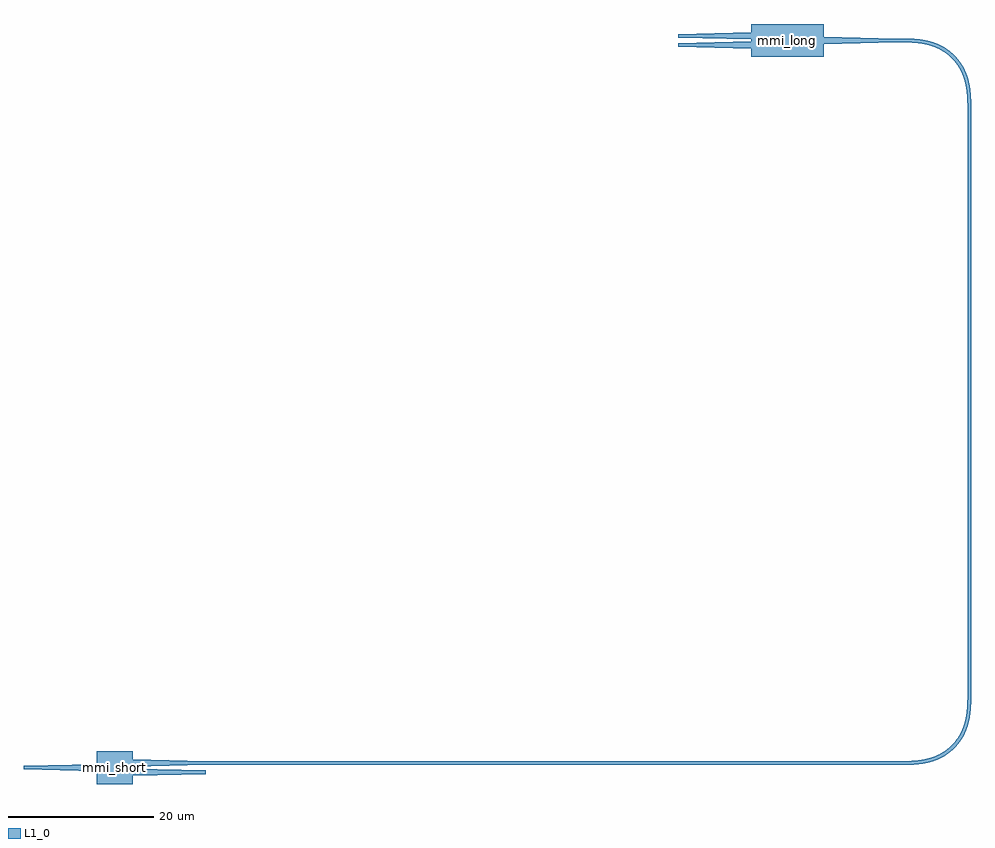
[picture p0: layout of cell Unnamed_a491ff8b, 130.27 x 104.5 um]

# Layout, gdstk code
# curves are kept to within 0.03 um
from math import pi, radians
import gdstk
lib = gdstk.Library(unit=1e-6, precision=1e-09)
def R(c, l, rs):  # rectangles x0, y0, x1, y1
    for r in rs: c.add(gdstk.rectangle(r[:2], r[2:], *l))
def P(c, l, *ps):  # polygons
    for p in ps: c.add(gdstk.Polygon(p, *l))
L1_0 = (1, 0)

mmi1x2_25023716 = lib.new_cell('mmi1x2_25023716')
R(mmi1x2_25023716, L1_0, [(0,-2.25,10,2.25)])
P(mmi1x2_25023716, L1_0, [(-10,0.25),(0,0.5),(0,-0.5),(-10,-0.25)],
  [(20,0.375),(10,0.125),(10,1.125),(20,0.875)],
  [(20,-0.875),(10,-1.125),(10,-0.125),(20,-0.375)])

mmi1x2_63d4efba = lib.new_cell('mmi1x2_63d4efba')
R(mmi1x2_63d4efba, L1_0, [(0,-2.25,5,2.25)])
P(mmi1x2_63d4efba, L1_0, [(-10,0.25),(0,0.5),(0,-0.5),(-10,-0.25)],
  [(15,0.375),(5,0.125),(5,1.125),(15,0.875)],
  [(15,-0.875),(5,-1.125),(5,-0.125),(15,-0.375)])

bend_euler = lib.new_cell('bend_euler')
P(bend_euler, L1_0, [(0,-0.25),(1.498,-0.236),(2.724,-0.165),(3.761,-0.026),(4.739,0.201),(5.691,0.544),(6.428,0.918),(7.158,1.402),(7.859,2.003),(8.479,2.689),(9.033,3.488),(9.456,4.309),(9.799,5.261),(10.026,6.239),(10.165,7.276),(10.236,8.502),(10.25,10),(9.75,10),(9.727,8.239),(9.634,7.004),(9.463,5.971),(9.18,4.971),(8.884,4.263),(8.508,3.59),(8.088,3),(7.575,2.425),(7,1.912),(6.41,1.492),(5.737,1.116),(5.029,0.82),(4.029,0.537),(2.996,0.366),(1.761,0.273),(0,0.25)])

straight_dee7a506 = lib.new_cell('straight_dee7a506')
R(straight_dee7a506, L1_0, [(0,-0.25,95.02,0.25)])

straight_e4b574c8 = lib.new_cell('straight_e4b574c8')
R(straight_e4b574c8, L1_0, [(0,-0.25,79.375,0.25)])

straight_2d58b973 = lib.new_cell('straight_2d58b973')
R(straight_2d58b973, L1_0, [(0,-0.25,0.02,0.25)])

unnamed_a491ff8b = lib.new_cell('Unnamed_a491ff8b')
unnamed_a491ff8b.add(gdstk.Reference(mmi1x2_25023716, (100,100), rotation=pi))
unnamed_a491ff8b.add(gdstk.Reference(mmi1x2_63d4efba, (0,0)))
unnamed_a491ff8b.add(gdstk.Reference(bend_euler, (110.02,0.625)))
unnamed_a491ff8b.add(gdstk.Reference(bend_euler, (120.02,90), rotation=pi/2))
unnamed_a491ff8b.add(gdstk.Reference(straight_dee7a506, (15,0.625)))
unnamed_a491ff8b.add(gdstk.Reference(straight_e4b574c8, (120.02,10.625), rotation=pi/2))
unnamed_a491ff8b.add(gdstk.Reference(straight_2d58b973, (110.02,100), rotation=pi))
unnamed_a491ff8b.add(gdstk.Label('mmi_long', (95,100), layer=206, texttype=0))
unnamed_a491ff8b.add(gdstk.Label('mmi_short', (2.5,0), layer=206, texttype=0))

lib.write_gds('Unnamed_a491ff8b.gds')
